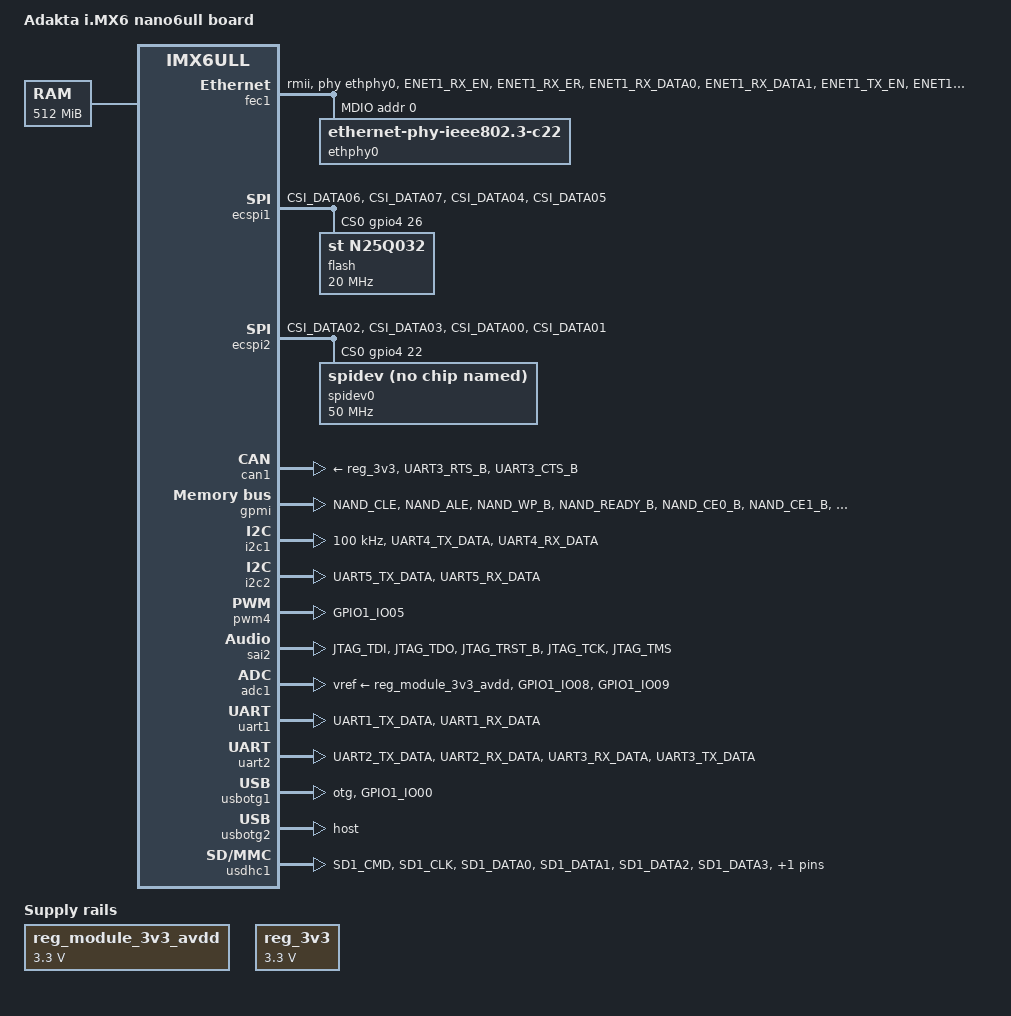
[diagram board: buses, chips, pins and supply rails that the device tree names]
/*
 * Copyright (C) 2016 Freescale Semiconductor, Inc.
 *
 * This program is free software; you can redistribute it and/or modify
 * it under the terms of the GNU General Public License version 2 as
 * published by the Free Software Foundation.
 */

/dts-v1/;
 
#include <dt-bindings/input/input.h>
#include "imx6ull.dtsi"

/ {
	model = "Adakta i.MX6 nano6ull board";
	compatible = "fsl,adakta_6ull", "fsl,imx6ull";

	chosen {
		stdout-path = &uart1;
	};

	memory@80000000 {
		device_type = "memory";
		reg = <0x80000000 0x20000000>;
	};

	reg_module_3v3_avdd: regulator-module-3v3-avdd {
		compatible = "regulator-fixed";
		regulator-always-on;
		regulator-name = "+V3.3_AVDD_AUDIO";
		regulator-min-microvolt = <3300000>;
		regulator-max-microvolt = <3300000>;
	};
	
	reg_3v3: regulator-3v3 {
		compatible = "regulator-fixed";
		regulator-name = "3.3V";
		regulator-min-microvolt = <3300000>;
		regulator-max-microvolt = <3300000>;
	};
};

&cpu0 {
	arm-supply = <&reg_arm>;
	soc-supply = <&reg_soc>;
};

&clks {
	assigned-clocks = <&clks IMX6UL_CLK_PLL4_AUDIO_DIV>;
	assigned-clock-rates = <786432000>;
};

&fec1 {
	pinctrl-names = "default";
	pinctrl-0 = <&pinctrl_enet1>;
	phy-mode = "rmii";
	phy-handle = <&ethphy0>;
	status = "okay";
	mdio {
		#address-cells = <1>;
		#size-cells = <0>;

		ethphy0: ethernet-phy@0 {
			compatible = "ethernet-phy-ieee802.3-c22";
			reg = <0>;
		};

	};
};

&ecspi1 {
	fsl,spi-num-chipselects = <1>;
	cs-gpios = <&gpio4 26 0>;
	pinctrl-names = "default";
	pinctrl-0 = <&pinctrl_ecspi1_0>;
	status = "okay";

	flash: n25q032@0 {
		#address-cells = <1>;
		#size-cells = <1>;
		compatible = "st,n25q032";
		spi-max-frequency = <20000000>;
		reg = <0>;
	};
};

&ecspi2 {
	fsl,spi-num-chipselects = <1>;
	cs-gpios = <&gpio4 22 0>;
	pinctrl-names = "default";
	pinctrl-0 = <&pinctrl_ecspi2_0>;
	status = "okay";
	spidev0: spidev@1 {
		status = "okay";
		compatible = "spidev";
		spi-max-frequency = <50000000>;
		reg = <0>;
	};
};

&can1 {
	pinctrl-names = "default";
	pinctrl-0 = <&pinctrl_flexcan1>;
	xceiver-supply = <&reg_3v3>;
	status = "okay";
};
 

&gpc {
	fsl,cpu_pupscr_sw2iso = <0x1>;
	fsl,cpu_pupscr_sw = <0x0>;
	fsl,cpu_pdnscr_iso2sw = <0x1>;
	fsl,cpu_pdnscr_iso = <0x1>;
	fsl,ldo-bypass = <0>; /* DCDC, ldo-enable */
};

&gpmi {
	pinctrl-names = "default";
	pinctrl-0 = <&pinctrl_gpmi_nand_1>;
	status = "okay";
	nand-on-flash-bbt;
	fsl,legacy-bch-geometry;
};

&i2c1 {
	clock-frequency = <100000>;
	pinctrl-names = "default";
	pinctrl-0 = <&pinctrl_i2c1>;
	status = "okay";
};

&i2c2 {
	clock_frequency = <100000>;
	pinctrl-names = "default";
	pinctrl-0 = <&pinctrl_i2c2>;
	status = "okay";
};

&iomuxc {
	pinctrl-names = "default";
	pinctrl-0 = <&pinctrl_hog_1>;
	imx6ul-evk {
		pinctrl_hog_1: hoggrp-1 {
			fsl,pins = <
				MX6UL_PAD_UART1_RTS_B__GPIO1_IO19	0x17059 /* SD1 CD */
			>;
		};

		pinctrl_gpmi_nand_1: gpmi-nand-1 {
			fsl,pins = <
				MX6UL_PAD_NAND_CLE__RAWNAND_CLE         0xb0b1
				MX6UL_PAD_NAND_ALE__RAWNAND_ALE         0xb0b1
				MX6UL_PAD_NAND_WP_B__RAWNAND_WP_B       0xb0b1
				MX6UL_PAD_NAND_READY_B__RAWNAND_READY_B 0xb000
				MX6UL_PAD_NAND_CE0_B__RAWNAND_CE0_B     0xb0b1
				MX6UL_PAD_NAND_CE1_B__RAWNAND_CE1_B     0xb0b1
				MX6UL_PAD_NAND_RE_B__RAWNAND_RE_B       0xb0b1
				MX6UL_PAD_NAND_WE_B__RAWNAND_WE_B       0xb0b1
				MX6UL_PAD_NAND_DATA00__RAWNAND_DATA00   0xb0b1
				MX6UL_PAD_NAND_DATA01__RAWNAND_DATA01   0xb0b1
				MX6UL_PAD_NAND_DATA02__RAWNAND_DATA02   0xb0b1
				MX6UL_PAD_NAND_DATA03__RAWNAND_DATA03   0xb0b1
				MX6UL_PAD_NAND_DATA04__RAWNAND_DATA04   0xb0b1
				MX6UL_PAD_NAND_DATA05__RAWNAND_DATA05   0xb0b1
				MX6UL_PAD_NAND_DATA06__RAWNAND_DATA06   0xb0b1
				MX6UL_PAD_NAND_DATA07__RAWNAND_DATA07   0xb0b1
			>;
		};
		
		pinctrl_adc1: adc1grp {
			fsl,pins = <
				MX6UL_PAD_GPIO1_IO08__GPIO1_IO08        0xb0
				MX6UL_PAD_GPIO1_IO09__GPIO1_IO09        0xb0
			>;
		};
		
		pinctrl_ecspi1_0: ecspi1grp-0 {
			fsl,pins = <
				MX6UL_PAD_CSI_DATA06__ECSPI1_MOSI 0x10b0
				MX6UL_PAD_CSI_DATA07__ECSPI1_MISO 0x10b0
				MX6UL_PAD_CSI_DATA04__ECSPI1_SCLK 0x10b0
				MX6UL_PAD_CSI_DATA05__ECSPI1_SS0 0x10b0
			>;
		};
		
		pinctrl_ecspi2_0: ecspi2grp-0 {
			fsl,pins = <
				MX6UL_PAD_CSI_DATA02__ECSPI2_MOSI 0x10b0
				MX6UL_PAD_CSI_DATA03__ECSPI2_MISO 0x10b0
				MX6UL_PAD_CSI_DATA00__ECSPI2_SCLK 0x10b0
				MX6UL_PAD_CSI_DATA01__ECSPI2_SS0 0x10b0
			>;
		};
		
		pinctrl_usb_otg1_id: usbotg1idgrp {
			fsl,pins = <
				MX6UL_PAD_GPIO1_IO00__ANATOP_OTG1_ID	0x17059
			>;
		};
		
		pinctrl_enet1: enet1grp {
			fsl,pins = <
				MX6UL_PAD_ENET1_RX_EN__ENET1_RX_EN	0x1b0b0
				MX6UL_PAD_ENET1_RX_ER__ENET1_RX_ER	0x1b0b0
				MX6UL_PAD_ENET1_RX_DATA0__ENET1_RDATA00	0x1b0b0
				MX6UL_PAD_ENET1_RX_DATA1__ENET1_RDATA01	0x1b0b0
				MX6UL_PAD_ENET1_TX_EN__ENET1_TX_EN	0x1b0b0
				MX6UL_PAD_ENET1_TX_DATA0__ENET1_TDATA00	0x1b0b0
				MX6UL_PAD_ENET1_TX_DATA1__ENET1_TDATA01	0x1b0b0
				MX6UL_PAD_ENET1_TX_CLK__ENET1_REF_CLK1	0x4001b031
			>;
		};


		pinctrl_flexcan1: flexcan1grp{
			fsl,pins = <
				MX6UL_PAD_UART3_RTS_B__FLEXCAN1_RX	0x1b020
				MX6UL_PAD_UART3_CTS_B__FLEXCAN1_TX	0x1b020
			>;
		};

		pinctrl_i2c1: i2c1grp {
			fsl,pins = <
				MX6UL_PAD_UART4_TX_DATA__I2C1_SCL 0x4001b8b0
				MX6UL_PAD_UART4_RX_DATA__I2C1_SDA 0x4001b8b0
			>;
		};

		pinctrl_i2c2: i2c2grp {
			fsl,pins = <
				MX6UL_PAD_UART5_TX_DATA__I2C2_SCL 0x4001b8b0
				MX6UL_PAD_UART5_RX_DATA__I2C2_SDA 0x4001b8b0
			>;
		};

		pinctrl_pwm4: pwm4grp {
			fsl,pins = <
				MX6UL_PAD_GPIO1_IO05__PWM4_OUT   0x110b0
			>;
		};


		pinctrl_sai2: sai2grp {
			fsl,pins = <
				MX6UL_PAD_JTAG_TDI__SAI2_TX_BCLK	0x17088
				MX6UL_PAD_JTAG_TDO__SAI2_TX_SYNC	0x17088
				MX6UL_PAD_JTAG_TRST_B__SAI2_TX_DATA	0x11088
				MX6UL_PAD_JTAG_TCK__SAI2_RX_DATA	0x11088
				MX6UL_PAD_JTAG_TMS__SAI2_MCLK		0x17088
			>;
		};

		pinctrl_uart1: uart1grp {
			fsl,pins = <
				MX6UL_PAD_UART1_TX_DATA__UART1_DCE_TX 0x1b0b1
				MX6UL_PAD_UART1_RX_DATA__UART1_DCE_RX 0x1b0b1
			>;
		};

		pinctrl_uart2: uart2grp {
			fsl,pins = <
				MX6UL_PAD_UART2_TX_DATA__UART2_DCE_TX	0x1b0b1
				MX6UL_PAD_UART2_RX_DATA__UART2_DCE_RX	0x1b0b1
				MX6UL_PAD_UART3_RX_DATA__UART2_DCE_RTS	0x1b0b1
				MX6UL_PAD_UART3_TX_DATA__UART2_DCE_CTS	0x1b0b1
			>;
		};

		pinctrl_usdhc1: usdhc1grp {
			fsl,pins = <
				MX6UL_PAD_SD1_CMD__USDHC1_CMD     0x17059
				MX6UL_PAD_SD1_CLK__USDHC1_CLK     0x10071
				MX6UL_PAD_SD1_DATA0__USDHC1_DATA0 0x17059
				MX6UL_PAD_SD1_DATA1__USDHC1_DATA1 0x17059
				MX6UL_PAD_SD1_DATA2__USDHC1_DATA2 0x17059
				MX6UL_PAD_SD1_DATA3__USDHC1_DATA3 0x17059
			>;
		};

		pinctrl_usdhc1_100mhz: usdhc1grp100mhz {
			fsl,pins = <
				MX6UL_PAD_SD1_CMD__USDHC1_CMD     0x170b9
				MX6UL_PAD_SD1_CLK__USDHC1_CLK     0x100b9
				MX6UL_PAD_SD1_DATA0__USDHC1_DATA0 0x170b9
				MX6UL_PAD_SD1_DATA1__USDHC1_DATA1 0x170b9
				MX6UL_PAD_SD1_DATA2__USDHC1_DATA2 0x170b9
				MX6UL_PAD_SD1_DATA3__USDHC1_DATA3 0x170b9
			>;
		};

		pinctrl_usdhc1_200mhz: usdhc1grp200mhz {
			fsl,pins = <
				MX6UL_PAD_SD1_CMD__USDHC1_CMD     0x170f9
				MX6UL_PAD_SD1_CLK__USDHC1_CLK     0x100f9
				MX6UL_PAD_SD1_DATA0__USDHC1_DATA0 0x170f9
				MX6UL_PAD_SD1_DATA1__USDHC1_DATA1 0x170f9
				MX6UL_PAD_SD1_DATA2__USDHC1_DATA2 0x170f9
				MX6UL_PAD_SD1_DATA3__USDHC1_DATA3 0x170f9
			>;
		};
		
		pinctrl_wdog: wdoggrp {
			fsl,pins = <
				MX6UL_PAD_LCD_RESET__WDOG1_WDOG_ANY    0x30b0
			>;
		};

	};
};

&iomuxc_snvs {
	pinctrl-names = "default_snvs";
        
};

&pwm4 {
	pinctrl-names = "default";
	pinctrl-0 = <&pinctrl_pwm4>;
	status = "okay";
};

&sai2 {
	pinctrl-names = "default";
	pinctrl-0 = <&pinctrl_sai2>;

	assigned-clocks = <&clks IMX6UL_CLK_SAI2_SEL>,
			  <&clks IMX6UL_CLK_SAI2>;
	assigned-clock-parents = <&clks IMX6UL_CLK_PLL4_AUDIO_DIV>;
	assigned-clock-rates = <0>, <12288000>;
	fsl,sai-mclk-direction-output;
	status = "okay";
};

&snvs_poweroff {
	status = "okay";
};

&adc1 {
	pinctrl-names = "default";
	pinctrl-0 = <&pinctrl_adc1>;
	vref-supply = <&reg_module_3v3_avdd>; 
	num-channels = <10>;
	status = "okay";
};

&uart1 {
	pinctrl-names = "default";
	pinctrl-0 = <&pinctrl_uart1>;
	status = "okay";
};

&uart2 {
	pinctrl-names = "default";
	pinctrl-0 = <&pinctrl_uart2>;
	uart-has-rtscts;
	/* for DTE mode, add below change */
	/* fsl,dte-mode; */
	/* pinctrl-0 = <&pinctrl_uart2dte>; */
	status = "okay";
};

&usbotg1 {
	dr_mode = "otg";
	srp-disable;
	hnp-disable;
	adp-disable;
	pinctrl-0 = <&pinctrl_usb_otg1_id>;
	disable-over-current;
	status = "okay";
};

&usbotg2 {
	dr_mode = "host";
	disable-over-current;
	status = "okay";
};

&usbphy1 {
	fsl,tx-d-cal = <106>;
};

&usbphy2 {
	fsl,tx-d-cal = <106>;
};

&usdhc1 {
	pinctrl-names = "default";
	pinctrl-0 = <&pinctrl_usdhc1>;
	cd-gpios = <&gpio1 19 GPIO_ACTIVE_LOW>;
	keep-power-in-suspend;
	wakeup-source;
	status = "okay";
};

&wdog1 {
	pinctrl-names = "default";
	pinctrl-0 = <&pinctrl_wdog>;
	fsl,wdog_b;
};
